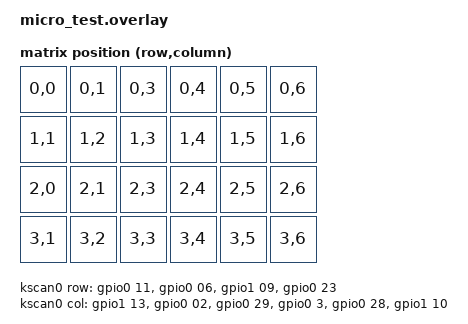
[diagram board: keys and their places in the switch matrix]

#include <dt-bindings/zmk/matrix_transform.h>

/ {
    chosen {
        zmk,kscan = &kscan0;
        zmk,physical-layout = &default_layout;
    };

    kscan0: kscan_0 {
        compatible = "zmk,kscan-gpio-matrix";
        diode-direction = "col2row";
        wakeup-source;

        col-gpios
            = <&gpio1 13 GPIO_ACTIVE_HIGH>
            , <&gpio0 02 GPIO_ACTIVE_HIGH>
            , <&gpio0 29 GPIO_ACTIVE_HIGH>
            , <&gpio0 3  GPIO_ACTIVE_HIGH>
            , <&gpio0 28 GPIO_ACTIVE_HIGH>
            , <&gpio1 10 GPIO_ACTIVE_HIGH>
            ;

        row-gpios
            = <&gpio0 11 (GPIO_ACTIVE_HIGH | GPIO_PULL_DOWN)>
            , <&gpio0 06 (GPIO_ACTIVE_HIGH | GPIO_PULL_DOWN)>
            , <&gpio1 09 (GPIO_ACTIVE_HIGH | GPIO_PULL_DOWN)>
            , <&gpio0 23 (GPIO_ACTIVE_HIGH | GPIO_PULL_DOWN)>
            ;
    };

    default_transform: keymap_transform_0 {
        compatible = "zmk,matrix-transform";
        columns = <6>;
        rows = <4>;
// | MX1  | MX2  | MX3  | MX4  | MX17 | MX21 |
// | MX5  | MX6  | MX7  | MX8  | MX18 | MX22 |
// | MX9  | MX10 | MX11 | MX12 | MX19 | MX23 |
// | MX13 | MX14 | MX15 | MX16 | MX20 | MX24 |
        map = <
RC(0,0) RC(0,1) RC(0,3) RC(0,4) RC(0,5) RC(0,6)
RC(1,1) RC(1,2) RC(1,3) RC(1,4) RC(1,5) RC(1,6)
RC(2,0) RC(2,1) RC(2,3) RC(2,4) RC(2,5) RC(2,6)
RC(3,1) RC(3,2) RC(3,3) RC(3,4) RC(3,5) RC(3,6)
        >;
    };

    default_layout: default_layout {
        compatible = "zmk,physical-layout";
        display-name = "Default Layout";
        transform = <&default_transform>;
        kscan = <&kscan0>;
    };
};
